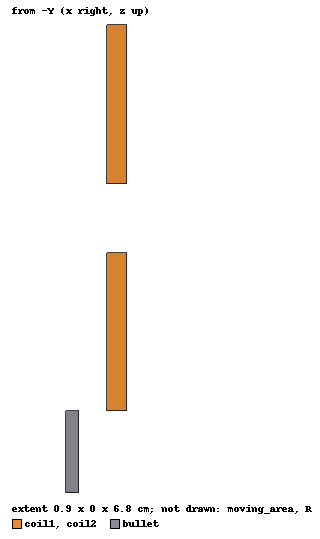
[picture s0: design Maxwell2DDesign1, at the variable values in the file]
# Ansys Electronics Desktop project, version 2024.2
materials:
  vacuum: permittivity=1
  copper: permeability=0.999991 conductivity=58000000
  iron: permeability=4000 conductivity=10300000
  air: permittivity=1.0006 permeability=1.0000004

design Maxwell2DDesign1 (Maxwell 2D, Transient, about Z geometry, model units cm)
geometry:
  coil1 [copper] = rectangle(corner=(0.6cm, 0cm, 0cm), z_size=2.3cm, x_size=0.3cm)
  bullet [iron] = rectangle(corner=(0cm, 0cm, -1.2cm), z_size=1.2cm, x_size=0.2cm)
  coil2 [copper] = rectangle(corner=(0.6cm, 0cm, 3.3cm), z_size=2.3cm, x_size=0.3cm)
  moving_area [air] = rectangle(corner=(0cm, 0cm, -1.5cm), z_size=15cm, x_size=0.3cm)
  Region [vacuum] = region(percentage_offset: +X=100, -X=100, +Y=0, -Y=0, +Z=100, -Z=100)
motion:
  MotionSetup1: Band Move_Type=Translate Coordinate_System=Global PostProcessing_Coordinate_System=Global Axis=Z Is_Positive=true InitPos=0cm NegativePos=0cm PositivePos=10cm Velocity=0m_per_sec Mass=2gram Damping=0 Load_Force=0newton Objects=moving_area
  Moving1: Moving Objects=bullet
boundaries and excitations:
  Balloon1: Balloon Edges=Region.edge(at (0.9, 0, -16.5), at (1.8, 0, 6), at (0.9, 0, 28.5))
  Symmetry1: Symmetry Edges=Region.edge(at (0, 0, 6)) IsOdd=true
  coil1: Coil Objects=coil1 Conductor_number=77 Winding=Winding1 PolarityType=Positive
  coil2: Coil Objects=coil2 Conductor_number=77 Winding=Winding2 PolarityType=Positive
  Winding1: Winding Group Type=External IsSolid=false Current=0mA ParallelBranchesNum=1
  Winding2: Winding Group Type=External IsSolid=false Current=0mA ParallelBranchesNum=1
  eddy effects on: coil1, coil2
  external circuit: "* Design: Project3_ckt\"
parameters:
  Force1: Force Reference_CS=Global Objects=bullet
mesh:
  Length1: LengthBased Objects=coil1 MaxLength=0.4cm
  Length2: LengthBased Objects=coil2 MaxLength=0.4cm
  Length3: LengthBased Objects=bullet MaxLength=0.2cm
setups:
  Setup1: Transient NonlinearSolverResidual=0.0001 StopTime=25ms TimeStep=0.5ms SaveFieldsType=Custom SweepRanges{0ms to 25ms step 0.5ms} NumberSolveSteps=1 RangeStart=0s RangeEnd=0.1s InitialTimeStep=0.002s MinTimeStep=0.001s MaxTimeStep=0.003s TimeStepErrTolerance=0.0001
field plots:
  Flux_Lines1: A over coil1, bullet, coil2, moving_area, Region on Setup1 : Transient at Time=0s
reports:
  Speed Plot 1: Speed vs Time on Setup1 : Transient
  Position Plot 1: Position vs Time on Setup1 : Transient
  Force Plot 1: Force_z vs Time on Setup1 : Transient

design Project3_ckt (Maxwell Circuit)
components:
  Winding_2 = Winding(Name=Winding1)
  Winding_3 = Winding(Name=Winding2)
  Cap_4 = Cap(IC=100V C=1000uF)
  SW_V_5 = SW_V(MOD=SW1 ID_V=IVoltmeter12)
  DIODE_Model_6 = DIODE_Model(DeviceName=D1)
  DIODE_7 = DIODE(MOD=D1)
  VPulse_8 = VPulse()
  Res_9 = Res(R=20mOhm)
  Res_10 = Res()
  SW_VModel_11 = SW_VModel(DeviceName=SW1)
  VoltmeterG_12 = VoltmeterG()
  Cap_25 = Cap(IC=100V C=1000uF)
  SW_V_26 = SW_V(MOD=SW2 ID_V=IVoltmeter33)
  DIODE_Model_27 = DIODE_Model(DeviceName=D2)
  DIODE_28 = DIODE(MOD=D2)
  VPulse_29 = VPulse(Td=15.5ms)
  Res_30 = Res(R=20mOhm)
  Res_31 = Res()
  SW_VModel_32 = SW_VModel(DeviceName=SW2)
  VoltmeterG_33 = VoltmeterG()
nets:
  0: Res_10.0, Cap_25.1, Winding_3.1, DIODE_7.0, VPulse_8.1, Cap_4.1, Winding_2.1, DIODE_28.0, VPulse_29.1, Res_31.0
  net_1: Res_10.1, VoltmeterG_12.0, VPulse_8.0
  net_2: SW_V_5.1, DIODE_7.1, Res_9.0
  net_3: Res_9.1, Winding_2.0
  net_4: SW_V_5.0, Cap_4.0
  net_5: VoltmeterG_33.0, VPulse_29.0, Res_31.1
  net_6: SW_V_26.1, Res_30.0, DIODE_28.1
  net_7: Winding_3.0, Res_30.1
  net_8: Cap_25.0, SW_V_26.0
